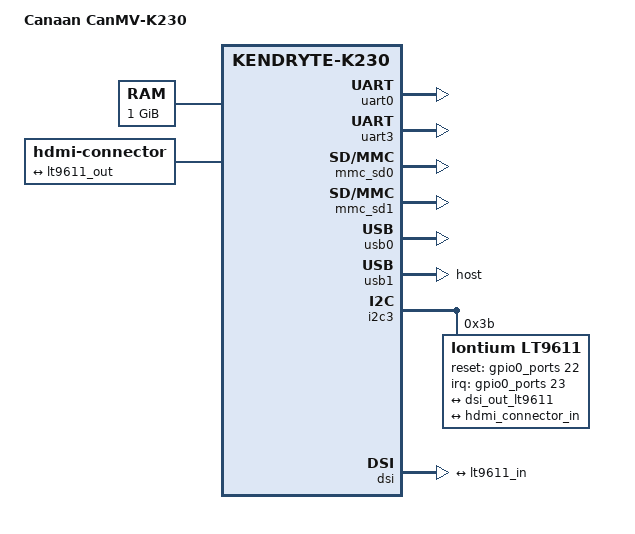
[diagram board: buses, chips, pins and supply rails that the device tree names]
// SPDX-License-Identifier: GPL-2.0 OR MIT
/*
 * Copyright (C) 2024 Yangyu Chen <cyy@cyyself.name>
 */

#include "k230.dtsi"

/ {
	model = "Canaan CanMV-K230";
	compatible = "canaan,canmv-k230", "canaan,kendryte-k230";

	aliases {
		serial3 = &uart3;
	};

	chosen {
		stdout-path = "serial0:115200n8";
	};

	ddr: memory@0 {
		device_type = "memory";
		reg = <0x0 0x0 0x0 0x40000000>;
	};
};

&uart0 {
	status = "okay";
};
&uart3 {
	status = "okay";
};
&mmc_sd0{
	status = "okay";
	no-1-8-v;
	cap-sd-highspeed;
	rx_delay_line = <0x0d>;
	tx_delay_line = <0xb0>;
	clocks = <&sd0_cclk_gate>,<&sd0_cclk_gate>;
	clock-names = "core", "bus";
};
&mmc_sd1{
	status = "okay";
	no-1-8-v;
	cap-sd-highspeed;
	mshc_ctrl_r = <0x00>;
};
&usb0 {
	status = "okay";
};
&usb1 {
	dr_mode = "host";
	status = "okay";
};

&i2c3 {
	status = "okay";

	lt9611: hdmi-bridge@3b {
		compatible = "lontium,lt9611";
		reg = <0x3b>;
		reset-gpios = <&gpio0_ports 22 GPIO_ACTIVE_HIGH>;
		interrupt-parent = <&gpio0_ports>;
		interrupts = <23 IRQ_TYPE_EDGE_FALLING>;
		ports {
			#address-cells  = <1>;
			#size-cells     = <0>;
			port@1 {
				reg = <1>;
				lt9611_in: endpoint {
					remote-endpoint = <&dsi_out_lt9611>;
				};
			};

			port@2 {
				reg = <2>;
				lt9611_out: endpoint {
					remote-endpoint = <&hdmi_connector_in>;
				};
			};
		};
	};
};

&dsi {
	ports {
		port@1 {
			reg = <1>;
			dsi_out_lt9611: endpoint {
				remote-endpoint = <&lt9611_in>;
			};
		};
	};
};

/ {
	hdmi: connector {
		compatible = "hdmi-connector";
		label = "hdmi";
		type = "a";

		port {
			hdmi_connector_in: endpoint {
				remote-endpoint = <&lt9611_out>;
			};
		};
	};
};

&vo {
	vth_line = <10>;
};
